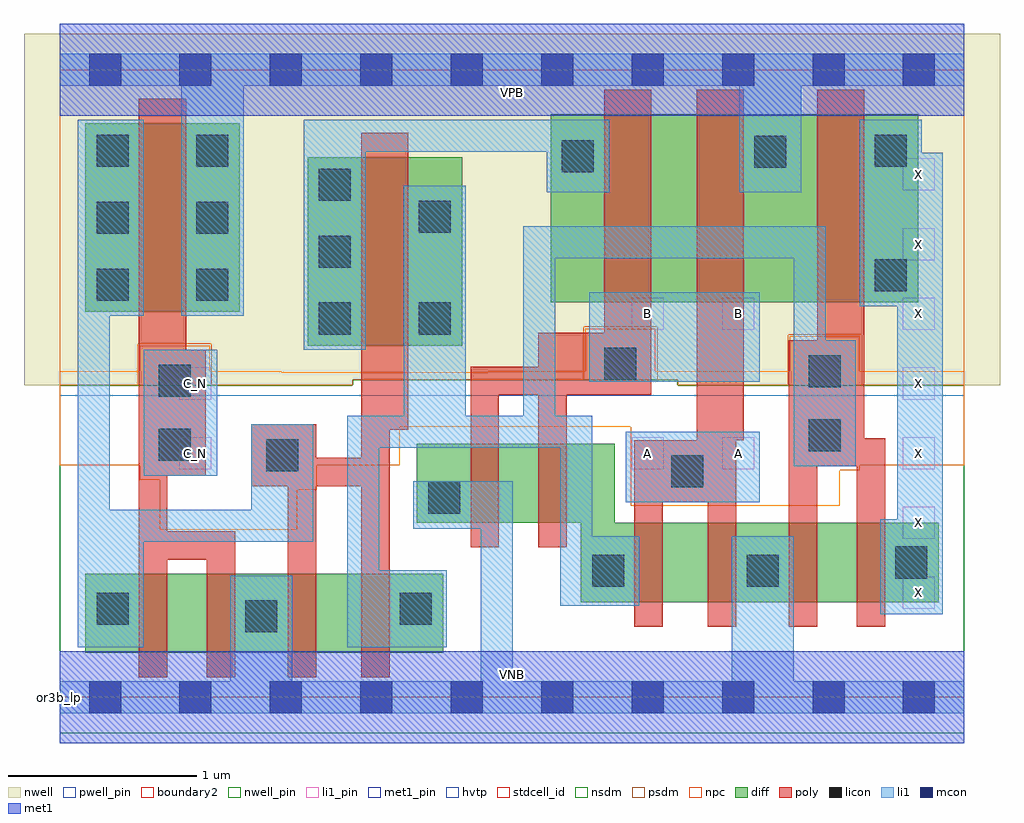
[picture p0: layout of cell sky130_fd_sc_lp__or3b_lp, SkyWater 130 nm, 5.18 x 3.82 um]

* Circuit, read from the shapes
.subckt sky130_fd_sc_lp__or3b_lp A B C_N VGND VNB VPB VPWR X
XM1 n1 C_N n2 VNB sky130_fd_pr__nfet_01v8 w=0.42 l=0.15
XM2 VGND C_N n1 VNB sky130_fd_pr__nfet_01v8 w=0.42 l=0.15
XM3 n3 n2 VGND VNB sky130_fd_pr__nfet_01v8 w=0.42 l=0.15
XM4 n4 n2 n3 VNB sky130_fd_pr__nfet_01v8 w=0.42 l=0.15
XM5 n5 B VGND VNB sky130_fd_pr__nfet_01v8 w=0.42 l=0.15
XM6 n4 B n5 VNB sky130_fd_pr__nfet_01v8 w=0.42 l=0.15
XM7 n6 A n4 VNB sky130_fd_pr__nfet_01v8 w=0.42 l=0.15
XM8 VGND A n6 VNB sky130_fd_pr__nfet_01v8 w=0.42 l=0.15
XM9 n7 n4 VGND VNB sky130_fd_pr__nfet_01v8 w=0.42 l=0.15
XM10 X n4 n7 VNB sky130_fd_pr__nfet_01v8 w=0.42 l=0.15
XM11 VPWR C_N n2 VPB sky130_fd_pr__pfet_01v8_hvt w=1 l=0.25
XM12 n4 n2 n8 VPB sky130_fd_pr__pfet_01v8_hvt w=1 l=0.25
XM13 n9 B n8 VPB sky130_fd_pr__pfet_01v8_hvt w=1 l=0.25
XM14 VPWR A n9 VPB sky130_fd_pr__pfet_01v8_hvt w=1 l=0.25
XM15 X n4 VPWR VPB sky130_fd_pr__pfet_01v8_hvt w=1 l=0.25
.ends

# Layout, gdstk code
import gdstk
lib = gdstk.Library(unit=1e-6, precision=1e-09)
def R(c, l, rs):  # rectangles x0, y0, x1, y1
    for r in rs: c.add(gdstk.rectangle(r[:2], r[2:], *l))
def A(c, l, x, y, w, h, nx, ny, dx, dy):  # array of equal rectangles
    R(c, l, [(x+i*dx, y+j*dy, x+i*dx+w, y+j*dy+h) for i in range(nx) for j in range(ny)])
def P(c, l, *ps):  # polygons
    for p in ps: c.add(gdstk.Polygon(p, *l))
nwell_pin = (64, 16)
nwell = (64, 20)
diff = (65, 20)
poly = (66, 20)
licon = (66, 44)
li1_pin = (67, 16)
li1 = (67, 20)
mcon = (67, 44)
met1_pin = (68, 16)
met1 = (68, 20)
hvtp = (78, 44)
stdcell_id = (81, 4)
nsdm = (93, 44)
psdm = (94, 20)
npc = (95, 20)
pwell_pin = (122, 16)
boundary2 = (236, 0)

sky130_fd_sc_lp__or3b_lp = lib.new_cell('sky130_fd_sc_lp__or3b_lp')
R(sky130_fd_sc_lp__or3b_lp, nwell_pin, [(0,3.085,4.8,3.33)])
P(sky130_fd_sc_lp__or3b_lp, nwell, [(4.99,3.52),(-0.19,3.52),(-0.19,1.655),(1.555,1.655),(1.555,1.685),(3.28,1.685),(3.28,1.655),(4.99,1.655)])
R(sky130_fd_sc_lp__or3b_lp, diff, [(0.135,0.235,2.035,0.655), (1.315,1.865,2.135,2.865), (0.135,2.045,0.955,3.045), (2.605,2.095,4.555,3.095)])
P(sky130_fd_sc_lp__or3b_lp, diff, [(4.665,0.925),(2.945,0.925),(2.945,1.345),(1.895,1.345),(1.895,0.925),(2.765,0.925),(2.765,0.505),(4.665,0.505)])
P(sky130_fd_sc_lp__or3b_lp, poly, [(0.93,0.88),(0.57,0.88),(0.57,1.175),(0.775,1.175),(0.775,1.845),(0.67,1.845),(0.67,3.175),(0.42,3.175),(0.42,0.105),(0.57,0.105),(0.57,0.73),(0.78,0.73),(0.78,0.105),(0.93,0.105)],
  [(1.85,2.995),(1.6,2.995),(1.6,1.27),(1.36,1.27),(1.36,1.45),(1.015,1.45),(1.015,1.12),(1.21,1.12),(1.21,0.105),(1.36,0.105),(1.36,1.12),(1.6,1.12),(1.6,0.105),(1.75,0.105),(1.75,1.42),(1.85,1.42)],
  [(3.14,3.225),(2.89,3.225),(2.89,1.935),(2.54,1.935),(2.54,1.755),(2.18,1.755),(2.18,0.795),(2.33,0.795),(2.33,1.605),(2.54,1.605),(2.54,0.795),(2.69,0.795),(2.69,1.605),(3.14,1.605)],
  [(3.63,3.225),(3.38,3.225),(3.38,1.365),(3.05,1.365),(3.05,0.375),(3.2,0.375),(3.2,1.035),(3.44,1.035),(3.44,0.375),(3.59,0.375),(3.59,1.365),(3.63,1.365)],
  [(4.38,1.375),(4.27,1.375),(4.27,3.225),(4.02,3.225),(4.02,1.895),(3.87,1.895),(3.87,0.375),(4.02,0.375),(4.02,1.225),(4.23,1.225),(4.23,0.375),(4.38,0.375)])
A(sky130_fd_sc_lp__or3b_lp, licon, 1.375, 1.925, 0.17, 0.17, 1, 3, 0, 0.355)
A(sky130_fd_sc_lp__or3b_lp, licon, 0.195, 2.105, 0.17, 0.17, 1, 3, 0, 0.355)
A(sky130_fd_sc_lp__or3b_lp, licon, 0.725, 2.105, 0.17, 0.17, 1, 3, 0, 0.355)
R(sky130_fd_sc_lp__or3b_lp, licon, [(0.985,0.345,1.155,0.515), (0.195,0.385,0.365,0.555), (1.805,0.385,1.975,0.555), (2.825,0.585,2.995,0.755), (3.645,0.585,3.815,0.755), (4.435,0.63,4.605,0.8), (1.955,0.975,2.125,1.145), (3.245,1.115,3.415,1.285), (1.095,1.2,1.265,1.37), (0.525,1.255,0.695,1.425), (3.975,1.305,4.145,1.475), (0.525,1.595,0.695,1.765), (3.975,1.645,4.145,1.815), (2.89,1.685,3.06,1.855), (1.905,1.925,2.075,2.095), (4.325,2.155,4.495,2.325), (1.905,2.465,2.075,2.635), (2.665,2.785,2.835,2.955), (3.685,2.81,3.855,2.98), (4.325,2.815,4.495,2.985)])
A(sky130_fd_sc_lp__or3b_lp, li1_pin, 4.475, 0.47, 0.17, 0.17, 1, 7, 0, 0.37)
R(sky130_fd_sc_lp__or3b_lp, li1_pin, [(0.635,1.21,0.805,1.38), (3.035,1.21,3.205,1.38), (3.515,1.21,3.685,1.38), (0.635,1.58,0.805,1.75), (3.035,1.95,3.205,2.12), (3.515,1.95,3.685,2.12)])
R(sky130_fd_sc_lp__or3b_lp, li1, [(3.005,1.035,3.715,1.41), (0.445,1.175,0.835,1.845), (2.81,1.675,3.715,2.15)])
P(sky130_fd_sc_lp__or3b_lp, li1, [(3.605,2.68),(3.605,3.245),(0.975,3.245),(0.975,2.025),(0.645,2.025),(0.645,3.245),(0,3.245),(0,3.415),(4.8,3.415),(4.8,3.245),(3.935,3.245),(3.935,2.68)],
  [(3.565,0.085),(3.565,0.855),(3.895,0.855),(3.895,0.085),(4.8,0.085),(4.8,-0.085),(0,-0.085),(0,0.085),(0.905,0.085),(0.905,0.645),(1.235,0.645),(1.235,0.085),(2.235,0.085),(2.235,0.895),(1.875,0.895),(1.875,1.145),(2.405,1.145),(2.405,0.085)],
  [(1.525,1.495),(1.825,1.495),(1.825,2.715),(2.155,2.715),(2.155,1.495),(2.46,1.495),(2.46,2.5),(4.065,2.5),(4.065,1.895),(4.225,1.895),(4.225,1.225),(3.895,1.225),(3.895,2.33),(2.63,2.33),(2.63,1.495),(2.825,1.495),(2.825,0.855),(3.075,0.855),(3.075,0.485),(2.655,0.485),(2.655,1.325),(1.695,1.325),(1.695,0.675),(2.055,0.675),(2.055,0.265),(1.525,0.265)],
  [(0.095,3.065),(0.445,3.065),(0.445,2.025),(0.265,2.025),(0.265,0.995),(1.015,0.995),(1.015,1.45),(1.345,1.45),(1.345,0.825),(0.445,0.825),(0.445,0.265),(0.095,0.265)],
  [(2.585,2.68),(2.585,2.895),(1.625,2.895),(1.625,1.845),(1.295,1.845),(1.295,3.065),(2.915,3.065),(2.915,2.68)],
  [(4.355,0.44),(4.355,0.945),(4.445,0.945),(4.445,2.075),(4.245,2.075),(4.245,3.065),(4.575,3.065),(4.575,2.89),(4.685,2.89),(4.685,0.44)])
A(sky130_fd_sc_lp__or3b_lp, mcon, 0.155, -0.085, 0.17, 0.17, 10, 2, 0.48, 3.33)
R(sky130_fd_sc_lp__or3b_lp, met1_pin, [(0,0,4.8,0.245), (0,3.085,4.8,3.33)])
R(sky130_fd_sc_lp__or3b_lp, met1, [(0,-0.245,4.8,0.245), (0,3.085,4.8,3.575)])
R(sky130_fd_sc_lp__or3b_lp, hvtp, [(0,1.6,4.8,3.33)])
R(sky130_fd_sc_lp__or3b_lp, stdcell_id, [(0,0,4.8,3.33)])
P(sky130_fd_sc_lp__or3b_lp, nsdm, [(4.8,1.655),(3.28,1.655),(3.28,1.685),(1.555,1.685),(1.555,1.655),(0,1.655),(0,-0.19),(4.8,-0.19)])
P(sky130_fd_sc_lp__or3b_lp, psdm, [(4.8,3.52),(0,3.52),(0,1.655),(0.415,1.655),(0.415,1.875),(0.805,1.875),(0.805,1.655),(1.555,1.655),(1.555,1.685),(2.78,1.685),(2.78,1.965),(3.17,1.965),(3.17,1.685),(3.28,1.685),(3.28,1.655),(3.865,1.655),(3.865,1.925),(4.255,1.925),(4.255,1.655),(4.8,1.655)])
P(sky130_fd_sc_lp__or3b_lp, npc, [(4.8,1.73),(4.245,1.73),(4.245,1.915),(3.875,1.915),(3.875,1.73),(3.16,1.73),(3.16,1.955),(2.79,1.955),(2.79,1.73),(2.275,1.73),(2.275,1.725),(1.175,1.725),(1.175,1.73),(0.795,1.73),(0.795,1.865),(0.425,1.865),(0.425,1.73),(0,1.73),(0,1.23),(0.425,1.23),(0.425,1.155),(0.53,1.155),(0.53,0.89),(1.26,0.89),(1.26,1.1),(1.365,1.1),(1.365,1.23),(1.805,1.23),(1.805,1.435),(3.03,1.435),(3.03,1.015),(4.14,1.015),(4.14,1.205),(4.245,1.205),(4.245,1.23),(4.8,1.23)])
R(sky130_fd_sc_lp__or3b_lp, pwell_pin, [(0,0,4.8,0.245)])
R(sky130_fd_sc_lp__or3b_lp, boundary2, [(0,0,4.8,3.33)])
sky130_fd_sc_lp__or3b_lp.add(gdstk.Label('VNB', (2.4,0.123), layer=64, texttype=59))
sky130_fd_sc_lp__or3b_lp.add(gdstk.Label('VPB', (2.4,3.208), layer=64, texttype=5))
sky130_fd_sc_lp__or3b_lp.add(gdstk.Label('or3b_lp', (0,0), layer=83, texttype=44))
sky130_fd_sc_lp__or3b_lp.add(gdstk.Label('VPWR', (2.4,3.208), layer=68, texttype=5))
sky130_fd_sc_lp__or3b_lp.add(gdstk.Label('VGND', (2.4,0.123), layer=68, texttype=5))
sky130_fd_sc_lp__or3b_lp.add(gdstk.Label('C_N', (0.72,1.295), layer=67, texttype=5))
sky130_fd_sc_lp__or3b_lp.add(gdstk.Label('C_N', (0.72,1.665), layer=67, texttype=5))
sky130_fd_sc_lp__or3b_lp.add(gdstk.Label('B', (3.12,2.035), layer=67, texttype=5))
sky130_fd_sc_lp__or3b_lp.add(gdstk.Label('B', (3.6,2.035), layer=67, texttype=5))
sky130_fd_sc_lp__or3b_lp.add(gdstk.Label('A', (3.12,1.295), layer=67, texttype=5))
sky130_fd_sc_lp__or3b_lp.add(gdstk.Label('A', (3.6,1.295), layer=67, texttype=5))
sky130_fd_sc_lp__or3b_lp.add(gdstk.Label('X', (4.56,0.555), layer=67, texttype=5))
sky130_fd_sc_lp__or3b_lp.add(gdstk.Label('X', (4.56,0.925), layer=67, texttype=5))
sky130_fd_sc_lp__or3b_lp.add(gdstk.Label('X', (4.56,1.295), layer=67, texttype=5))
sky130_fd_sc_lp__or3b_lp.add(gdstk.Label('X', (4.56,1.665), layer=67, texttype=5))
sky130_fd_sc_lp__or3b_lp.add(gdstk.Label('X', (4.56,2.035), layer=67, texttype=5))
sky130_fd_sc_lp__or3b_lp.add(gdstk.Label('X', (4.56,2.405), layer=67, texttype=5))
sky130_fd_sc_lp__or3b_lp.add(gdstk.Label('X', (4.56,2.775), layer=67, texttype=5))

lib.write_gds('sky130_fd_sc_lp__or3b_lp.gds')
